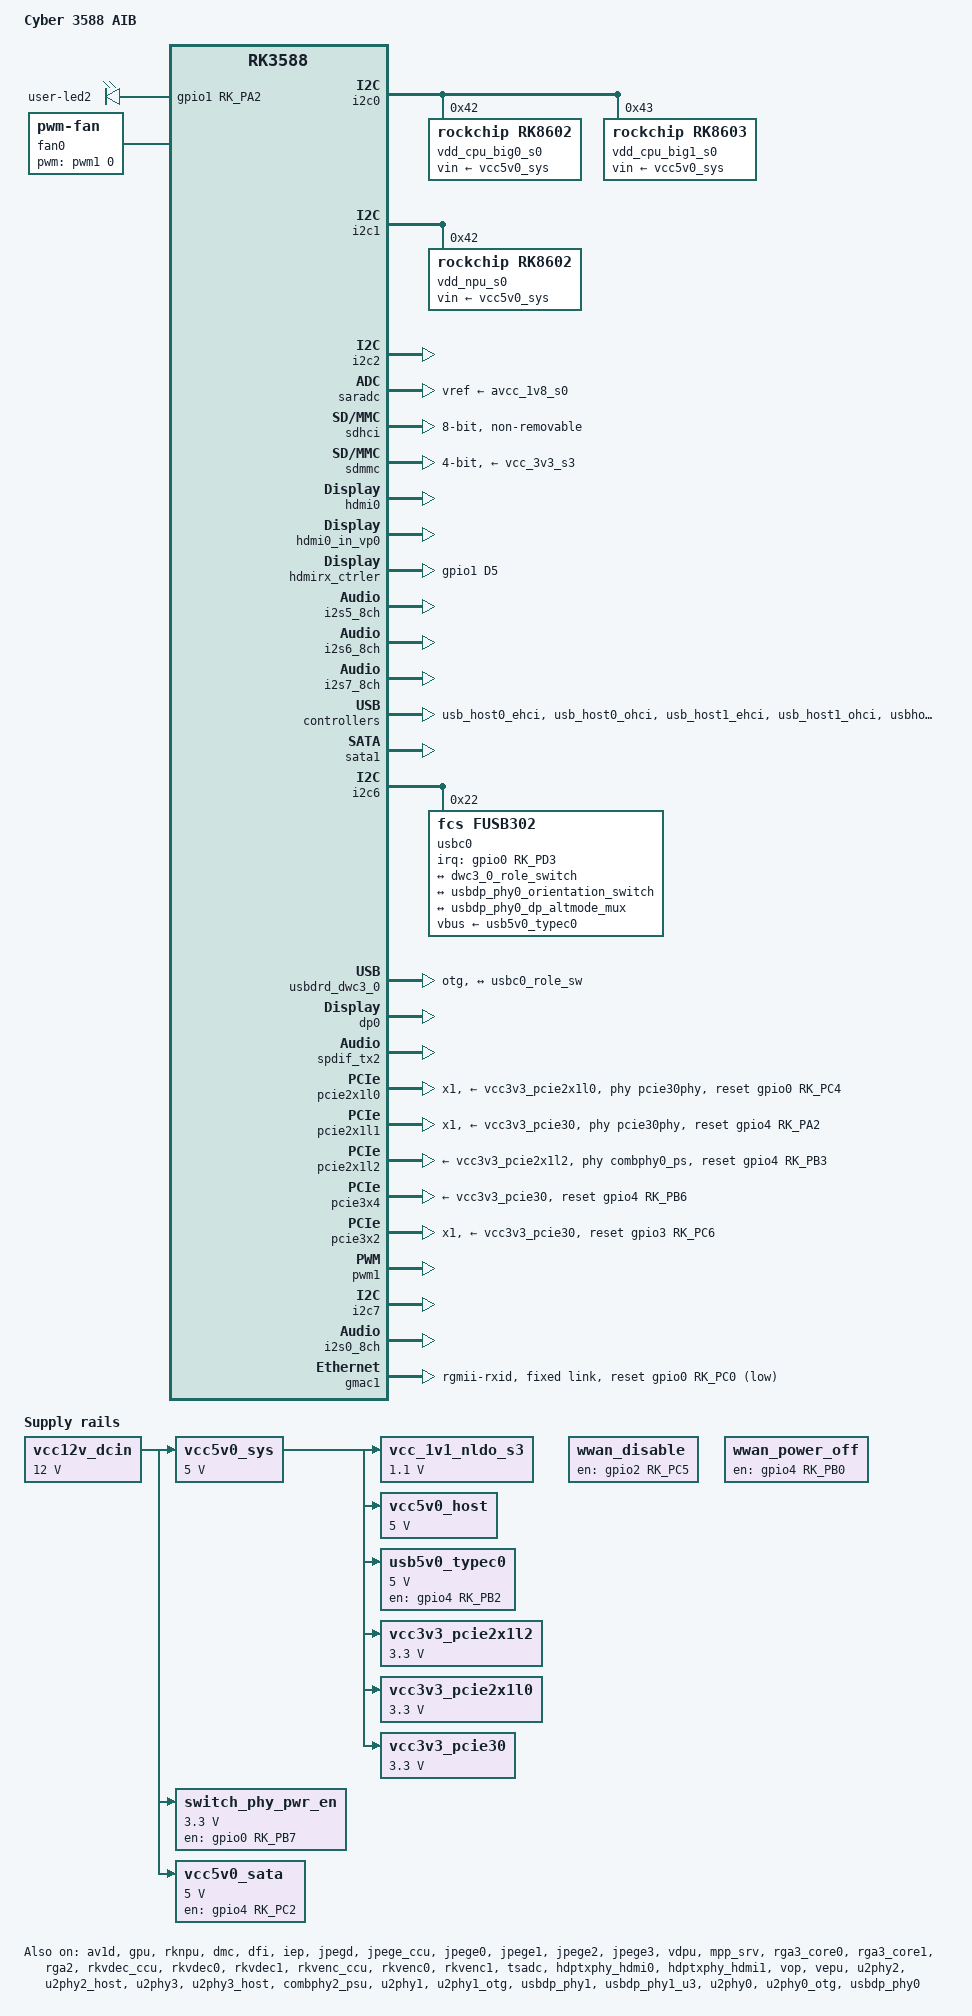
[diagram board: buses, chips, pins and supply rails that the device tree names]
// SPDX-License-Identifier: (GPL-2.0+ OR MIT)
/*
 * Copyright (c) 2022 Rockchip Electronics Co., Ltd.
 * Copyright (c) 2024 Cyber RD Group
 *
 */

/dts-v1/;

#include <dt-bindings/gpio/gpio.h>
#include <dt-bindings/leds/common.h>
#include <dt-bindings/pwm/pwm.h>
#include <dt-bindings/pinctrl/rockchip.h>
#include <dt-bindings/input/rk-input.h>
#include <dt-bindings/display/drm_mipi_dsi.h>
#include <dt-bindings/display/rockchip_vop.h>
#include <dt-bindings/sensor-dev.h>
#include "dt-bindings/usb/pd.h"
#include "rk3588.dtsi"
#include "rk3588-rk806-single.dtsi"
#include "rk3588-linux.dtsi"

/ {
	model = "Cyber 3588 AIB";
	compatible = "cyber,cyber3588-aib", "rockchip,rk3588";

	/delete-node/ chosen;

	vcc12v_dcin: vcc12v-dcin {
		compatible = "regulator-fixed";
		regulator-name = "vcc12v_dcin";
		regulator-always-on;
		regulator-boot-on;
		regulator-min-microvolt = <12000000>;
		regulator-max-microvolt = <12000000>;
	};

	vcc5v0_sys: vcc5v0-sys {
		compatible = "regulator-fixed";
		regulator-name = "vcc5v0_sys";
		regulator-always-on;
		regulator-boot-on;
		regulator-min-microvolt = <5000000>;
		regulator-max-microvolt = <5000000>;
		vin-supply = <&vcc12v_dcin>;
	};

	wwan_disable: wwan-disable-regulator {
		compatible = "regulator-fixed";
		regulator-name = "wwan_disable";
		enable-active-high;
		gpio = <&gpio2 RK_PC5 GPIO_ACTIVE_HIGH>;
		pinctrl-0 = <&wwan_disable_h>;
		pinctrl-names = "default";
		regulator-boot-on;
		regulator-always-on;
	};

	wwan_power_off: wwan-power-off-regulator {
		compatible = "regulator-fixed";
		regulator-name = "wwan_power_off";
		enable-active-high;
		gpio = <&gpio4 RK_PB0 GPIO_ACTIVE_HIGH>;
		pinctrl-0 = <&wwan_power_off_h>;
		pinctrl-names = "default";
		regulator-boot-on;
		regulator-always-on;
	};

	// bt_wake: bt-wake-gpio-regulator {
	// 	compatible = "regulator-fixed";
	// 	regulator-name = "bt_wake";
	// 	enable-active-high;
	// 	gpio = <&gpio3 RK_PD5 GPIO_ACTIVE_HIGH>;
	// 	regulator-boot-on;
	// 	regulator-always-on;
	// };

	// sdio_pwrseq: sdio-pwrseq {
	// 	compatible = "mmc-pwrseq-simple";
	// 	clocks = <&hym8563>;
	// 	clock-names = "ext_clock";
	// 	pinctrl-names = "default";
	// 	pinctrl-0 = <&wifi_enable_h>;
	// 	reset-gpios = <&gpio0 RK_PC4 GPIO_ACTIVE_LOW>;
	// };

	// wireless_wlan: wireless-wlan {
	// 	compatible = "wlan-platdata";
	// 	wifi_chip_type = "ap6256";
	// 	pinctrl-names = "default";
	// 	pinctrl-0 = <&wifi_host_wake_irq>;
	// 	WIFI,host_wake_irq = <&gpio0 RK_PB2 GPIO_ACTIVE_HIGH>;
	// 	status = "okay";
	// };

	switch_phy_pwr_en: switch-phy-pwr-en {
		compatible = "regulator-fixed";
		regulator-name = "vcc5v0_host";
		regulator-boot-on;
		regulator-always-on;
		regulator-min-microvolt = <3300000>;
		regulator-max-microvolt = <3300000>;
		enable-active-high;
		gpio = <&gpio0 RK_PB7 GPIO_ACTIVE_HIGH>;
		pinctrl-names = "default";
		pinctrl-0 = <&phy_pwr_en>;
		vin-supply = <&vcc12v_dcin>;
	};

	vcc_1v1_nldo_s3: vcc-1v1-nldo-s3 {
		compatible = "regulator-fixed";
		regulator-name = "vcc_1v1_nldo_s3";
		regulator-always-on;
		regulator-boot-on;
		regulator-min-microvolt = <1100000>;
		regulator-max-microvolt = <1100000>;
		vin-supply = <&vcc5v0_sys>;
	};

	hdmi0_sound: hdmi0-sound {
		status = "okay";
		compatible = "rockchip,hdmi";
		rockchip,mclk-fs = <128>;
		rockchip,card-name = "rockchip-hdmi0";
		rockchip,cpu = <&i2s5_8ch>;
		rockchip,codec = <&hdmi0>;
		rockchip,jack-det;
	};

	hdmi1_sound: hdmi1-sound {
		status = "okay";
		compatible = "rockchip,hdmi";
		rockchip,mclk-fs = <128>;
		rockchip,card-name = "rockchip-hdmi1";
		rockchip,cpu = <&i2s6_8ch>;
		rockchip,codec = <&hdmi1>;
		rockchip,jack-det;
	};

	dp0_sound: dp0-sound {
		status = "okay";
		compatible = "rockchip,hdmi";
		rockchip,card-name = "rockchip-dp0";
		rockchip,mclk-fs = <512>;
		rockchip,cpu = <&spdif_tx2>;
		rockchip,codec = <&dp0 1>;
		rockchip,jack-det;
	};

	vcc5v0_host: vcc5v0-host-regulator {
		compatible = "regulator-fixed";
		regulator-name = "vcc5v0_host";
		regulator-boot-on;
		regulator-always-on;
		regulator-min-microvolt = <5000000>;
		regulator-max-microvolt = <5000000>;
		enable-active-high;
		// gpio = <&gpio0 RK_PD4 GPIO_ACTIVE_HIGH>;
		// pinctrl-names = "default";
		// pinctrl-0 = <&vcc5v0_host_en>;
		vin-supply = <&vcc5v0_sys>;
	};

	usb5v0_typec0: usb5v0-typec0-regulator{
		compatible = "regulator-fixed";
		regulator-name = "vcc5v0_host";
		regulator-min-microvolt = <5000000>;
		regulator-max-microvolt = <5000000>;
		enable-active-high;
		gpio = <&gpio4 RK_PB2 GPIO_ACTIVE_HIGH>;
		pinctrl-names = "default";
		pinctrl-0 = <&vcc5v0_otg_en>;
		vin-supply = <&vcc5v0_sys>;
	};

	vcc3v3_pcie2x1l2: vcc3v3-pcie2x1l2 {
		compatible = "regulator-fixed";
		regulator-name = "vcc3v3_pcie2x1l2";
		regulator-min-microvolt = <3300000>;
		regulator-max-microvolt = <3300000>;
		regulator-always-on;
		regulator-boot-on;
		vin-supply = <&vcc5v0_sys>;
	};

	vcc3v3_pcie2x1l0: vcc3v3-pcie2x1l0 {
		compatible = "regulator-fixed";
		regulator-name = "vcc3v3_pcie2x1l0";
		regulator-min-microvolt = <3300000>;
		regulator-max-microvolt = <3300000>;
		//enable-active-high;
		regulator-boot-on;
		regulator-always-on;
		//gpios = <&gpio1 RK_PD2 GPIO_ACTIVE_HIGH>;
		startup-delay-us = <50000>;
		vin-supply = <&vcc5v0_sys>;
	};

	vcc3v3_pcie30: vcc3v3-pcie30 {
		compatible = "regulator-fixed";
		regulator-name = "vcc3v3_pcie30";
		regulator-min-microvolt = <3300000>;
		regulator-max-microvolt = <3300000>;
		//enable-active-high;
		//gpios = <&gpio1 RK_PA4 GPIO_ACTIVE_HIGH>;
		regulator-always-on;
		regulator-boot-on;
		vin-supply = <&vcc5v0_sys>;
	};

	vcc5v0_sata: vcc5v0-sata {
		compatible = "regulator-fixed";
		regulator-name = "vcc5v0_sata";
		regulator-always-on;
		regulator-boot-on;
		startup-delay-us = <1000000>;
		//usb-pd-controller = <&usbc0>;
		enable-active-high;
		gpio = <&gpio4 RK_PC2 GPIO_ACTIVE_HIGH>;
		pinctrl-names = "default";
		pinctrl-0 = <&sata1_pwr_en>;
		regulator-min-microvolt = <5000000>;
		regulator-max-microvolt = <5000000>;
		vin-supply = <&vcc12v_dcin>;
	};

	gpio-leds {
		compatible = "gpio-leds";
		pinctrl-names = "default";

		user-led2 {
			gpios = <&gpio1 RK_PA2 GPIO_ACTIVE_HIGH>;
			linux,default-trigger = "heartbeat";
			default-state = "on";
		};
	};

	/* If hdmirx node is disabled, delete the reserved-memory node here. */
	reserved-memory {
		#address-cells = <2>;
		#size-cells = <2>;
		ranges;

		/* Reserve 256MB memory for hdmirx-controller@fdee0000 */
		cma {
			compatible = "shared-dma-pool";
			reusable;
			reg = <0x0 (256 * 0x100000) 0x0 (256 * 0x100000)>;
			linux,cma-default;
		};
	};

	hdmiin-sound {
		compatible = "rockchip,hdmi";
		rockchip,mclk-fs = <128>;
		rockchip,format = "i2s";
		rockchip,bitclock-master = <&hdmirx_ctrler>;
		rockchip,frame-master = <&hdmirx_ctrler>;
		rockchip,card-name = "rockchip-hdmiin";
		rockchip,cpu = <&i2s7_8ch>;
		rockchip,codec = <&hdmirx_ctrler 0>;
		rockchip,jack-det;
	};

	fan0: pwm-fan {
		compatible = "pwm-fan";
		#cooling-cells = <2>;
		cooling-levels = <72 94 117 139 162 184 207 229 255>;
		pwms = <&pwm1 0 10000 0>;
	};

	rtl8367s {
		compatible = "realtek,rtl8367s", "realtek,rtl8367b";
		cpu_port = <7>;
		mii-bus = <&mdio1>;
		realtek,extif2 = <1 0 1 1 1 1 1 1 2>;
		phy-id = <29>;
	};
};

&av1d {
	status = "okay";
};

&av1d_mmu {
	status = "okay";
};

&cpu_l0 {
	cpu-supply = <&vdd_cpu_lit_s0>;
	mem-supply = <&vdd_cpu_lit_mem_s0>;
};

&cpu_b0 {
	cpu-supply = <&vdd_cpu_big0_s0>;
	mem-supply = <&vdd_cpu_big0_mem_s0>;
};

&cpu_b2 {
	cpu-supply = <&vdd_cpu_big1_s0>;
	mem-supply = <&vdd_cpu_big1_mem_s0>;
};

&gpu {
	mali-supply = <&vdd_gpu_s0>;
	mem-supply = <&vdd_gpu_mem_s0>;
	status = "okay";
};

&rknpu {
	rknpu-supply = <&vdd_npu_s0>;
	mem-supply = <&vdd_npu_mem_s0>;
	status = "okay";
};

&rknpu_mmu {
	status = "okay";
};

&i2c0 {
	status = "okay";
	pinctrl-names = "default";
	pinctrl-0 = <&i2c0m2_xfer>;

	vdd_cpu_big0_s0: vdd_cpu_big0_mem_s0: rk8602@42 {
		compatible = "rockchip,rk8602";
		reg = <0x42>;
		vin-supply = <&vcc5v0_sys>;
		regulator-compatible = "rk860x-reg";
		regulator-name = "vdd_cpu_big0_s0";
		regulator-min-microvolt = <550000>;
		regulator-max-microvolt = <1050000>;
		regulator-ramp-delay = <2300>;
		rockchip,suspend-voltage-selector = <1>;
		regulator-boot-on;
		regulator-always-on;
		regulator-state-mem {
			regulator-off-in-suspend;
		};
	};

	vdd_cpu_big1_s0: vdd_cpu_big1_mem_s0: rk8603@43 {
		compatible = "rockchip,rk8603";
		reg = <0x43>;
		vin-supply = <&vcc5v0_sys>;
		regulator-compatible = "rk860x-reg";
		regulator-name = "vdd_cpu_big1_s0";
		regulator-min-microvolt = <550000>;
		regulator-max-microvolt = <1050000>;
		regulator-ramp-delay = <2300>;
		rockchip,suspend-voltage-selector = <1>;
		regulator-boot-on;
		regulator-always-on;
		regulator-state-mem {
			regulator-off-in-suspend;
		};
	};
};

&dmc {
	center-supply = <&vdd_ddr_s0>;
	mem-supply = <&vdd_log_s0>;
	status = "okay";
};

&dfi {
	status = "okay";
};

&i2c1 {
	status = "okay";
	pinctrl-names = "default";
	pinctrl-0 = <&i2c1m2_xfer>;

	vdd_npu_s0: vdd_npu_mem_s0: rk8602@42 {
		compatible = "rockchip,rk8602";
		reg = <0x42>;
		vin-supply = <&vcc5v0_sys>;
		regulator-compatible = "rk860x-reg";
		regulator-name = "vdd_npu_s0";
		regulator-min-microvolt = <550000>;
		regulator-max-microvolt = <950000>;
		regulator-ramp-delay = <2300>;
		rockchip,suspend-voltage-selector = <1>;
		regulator-boot-on;
		regulator-always-on;
		regulator-state-mem {
			regulator-off-in-suspend;
		};
	};
};

&i2c2 {
	status = "okay";
};

&iep {
	status = "okay";
};

&iep_mmu {
	status = "okay";
};

&jpegd {
	status = "okay";
};

&jpegd_mmu {
	status = "okay";
};

&jpege_ccu {
	status = "okay";
};

&jpege0 {
	status = "okay";
};

&jpege0_mmu {
	status = "okay";
};

&jpege1 {
	status = "okay";
};

&jpege1_mmu {
	status = "okay";
};

&jpege2 {
	status = "okay";
};

&jpege2_mmu {
	status = "okay";
};

&jpege3 {
	status = "okay";
};

&jpege3_mmu {
	status = "okay";
};

&vdpu {
	status = "okay";
};

&vdpu_mmu {
	status = "okay";
};

&mpp_srv {
	status = "okay";
};

&rga3_core0 {
	status = "okay";
};

&rga3_0_mmu {
	status = "okay";
};

&rga3_core1 {
	status = "okay";
};

&rga3_1_mmu {
	status = "okay";
};

&rga2 {
	status = "okay";
};

&rkvdec_ccu {
	status = "okay";
};

&rkvdec0 {
	status = "okay";
};

&rkvdec0_mmu {
	status = "okay";
};

&rkvdec1 {
	status = "okay";
};

&rkvdec1_mmu {
	status = "okay";
};

&rkvenc_ccu {
	status = "okay";
};

&rkvenc0 {
	status = "okay";
};

&rkvenc0_mmu {
	status = "okay";
};

&rkvenc1 {
	status = "okay";
};

&rkvenc1_mmu {
	status = "okay";
};

&saradc {
	status = "okay";
	vref-supply = <&avcc_1v8_s0>;
};

&sdhci {
	bus-width = <8>;
	no-sdio;
	no-sd;
	non-removable;
	max-frequency = <200000000>;
	mmc-hs400-1_8v;
	mmc-hs400-enhanced-strobe;
	status = "okay";
};

&sdmmc {
	max-frequency = <200000000>;
	no-sdio;
	no-mmc;
	bus-width = <4>;
	cap-mmc-highspeed;
	cap-sd-highspeed;
	disable-wp;
	sd-uhs-sdr104;
	vmmc-supply = <&vcc_3v3_s3>;
	vqmmc-supply = <&vccio_sd_s0>;
	pinctrl-names = "default";
	pinctrl-0 = <&sdmmc_bus4 &sdmmc_clk &sdmmc_cmd &sdmmc_det>;
	status = "okay";
};

// &sdio {
// 	max-frequency = <150000000>;
// 	supports-sdio;
// 	bus-width = <4>;
// 	disable-wp;
// 	cap-sd-highspeed;
// 	cap-sdio-irq;
// 	keep-power-in-suspend;
// 	mmc-pwrseq = <&sdio_pwrseq>;
// 	non-removable;
// 	num-slots = <1>;
// 	pinctrl-names = "default";
// 	pinctrl-0 = <&sdiom0_pins>;
// 	sd-uhs-sdr104;
// 	status = "okay";
// };

&soc_thermal {
	polling-delay = <1000>;
	polling-delay-passive = <2000>;

	trips {
		trip0: trip-point@0 {
			temperature = <45000>;
			hysteresis = <5000>;
			type = "active";
		};
		trip1: trip-point@1 {
			temperature = <50000>;
			hysteresis = <5000>;
			type = "active";
		};
		trip2: trip-point@2 {
			temperature = <55000>;
			hysteresis = <5000>;
			type = "active";
		};
		trip3: trip-point@3 {
			temperature = <60000>;
			hysteresis = <5000>;
			type = "active";
		};
		trip4: trip-point@4 {
			temperature = <65000>;
			hysteresis = <5000>;
			type = "active";
		};
		trip5: trip-point@5 {
			temperature = <70000>;
			hysteresis = <5000>;
			type = "active";
		};
		trip6: trip-point@6 {
			temperature = <75000>;
			hysteresis = <5000>;
			type = "active";
		};
		pcritical: trip-point@7 {
			temperature = <80000>;
			hysteresis = <1000>;
			type = "active";
		};
	};
	cooling-maps {
		map0 {
			trip = <&trip0>;
			cooling-device = <&fan0 0 1>;
			contribution = <1024>;
		};
		map1 {
			trip = <&trip1>;
			cooling-device = <&fan0 1 2>;
			contribution = <1024>;
		};
		map2 {
			trip = <&trip2>;
			cooling-device = <&fan0 2 3>;
			contribution = <1024>;
		};
		map3 {
			trip = <&trip3>;
			cooling-device = <&fan0 3 4>;
			contribution = <1024>;
		};
		map4 {
			trip = <&trip4>;
			cooling-device = <&fan0 4 5>;
			contribution = <1024>;
		};
		map5 {
			trip = <&trip5>;
			cooling-device = <&fan0 5 6>;
			contribution = <1024>;
		};
		map6 {
			trip = <&trip6>;
			cooling-device = <&fan0 6 7>;
			contribution = <1024>;
		};
		map7 {
			trip = <&pcritical>;
			cooling-device = <&fan0 7 8>;
			contribution = <1024>;
		};
	};
};

// &uart6 {
// 	pinctrl-names = "default";
// 	pinctrl-0 = <&uart6m1_xfer &uart6m1_ctsn &uart6m1_rtsn>;
// 	status = "okay";
// };

&tsadc {
	status = "okay";
};

&display_subsystem {
	clocks = <&hdptxphy_hdmi_clk0>, <&hdptxphy_hdmi_clk1>;
	clock-names = "hdmi0_phy_pll", "hdmi1_phy_pll";

	route {
		route_hdmi0: route-hdmi0 {
			status = "okay";
			logo,uboot = "logo.bmp";
			logo,kernel = "logo_kernel.bmp";
			logo,mode = "center";
			charge_logo,mode = "center";
			connect = <&vp0_out_hdmi0>;
		};

		route_hdmi1: route-hdmi1 {
			status = "okay";
			logo,uboot = "logo.bmp";
			logo,kernel = "logo_kernel.bmp";
			logo,mode = "center";
			charge_logo,mode = "center";
			connect = <&vp1_out_hdmi1>;
		};
	};
};

&hdptxphy_hdmi_clk0 {
	status = "okay";
};

&hdptxphy_hdmi_clk1 {
	status = "okay";
};

&hdmi0 {
	status = "okay";
		cec-enable = "true";
};

&hdmi0_in_vp0 {
	status = "okay";
};

&hdmi0_in_vp1 {
	status = "disabled";
};

&hdmi0_in_vp2 {
	status = "disabled";
};

&hdmi0_sound {
	status = "okay";
};

// &hdmi1 {
// 	status = "okay";
// 	pinctrl-names = "default";
// 	pinctrl-0 = <&hdmim0_tx1_cec &hdmim0_tx1_hpd &hdmim1_tx1_scl &hdmim1_tx1_sda>;
// 		cec-enable = "true";
// };

&hdmi1_in_vp0 {
	status = "disabled";
};

// &hdmi1_in_vp1 {
// 	status = "okay";
// };

&hdmi1_in_vp2 {
	status = "disabled";
};

&hdmi1_sound {
	status = "okay";
};

/* Should work with at least 128MB cma reserved above. */
&hdmirx_ctrler {
	status = "okay";

	#sound-dai-cells = <1>;
	/* Effective level used to trigger HPD: 0-low, 1-high */
	hpd-trigger-level = <1>;
	hdmirx-det-gpios = <&gpio1 RK_PD5 GPIO_ACTIVE_LOW>;

	pinctrl-0 = <&hdmim1_rx_cec &hdmim1_rx_hpdin &hdmim1_rx_scl &hdmim1_rx_sda &hdmirx_det>;
	pinctrl-names = "default";
};

&hdptxphy_hdmi0 {
	status = "okay";
};

&hdptxphy_hdmi1 {
	status = "okay";
};

&i2s5_8ch {
	status = "okay";
};

&i2s6_8ch {
	status = "okay";
};

&i2s7_8ch {
	status = "okay";
};

&vop {
	status = "okay";
};

&vop_mmu {
	status = "okay";
};

&vepu {
	status = "okay";
};

/* vp0 & vp1 splice for 8K output */
&vp0 {
	rockchip,plane-mask = <(1 << ROCKCHIP_VOP2_CLUSTER0 | 1 << ROCKCHIP_VOP2_ESMART0)>;
	rockchip,primary-plane = <ROCKCHIP_VOP2_CLUSTER0>;
	cursor-win-id = <ROCKCHIP_VOP2_ESMART0>;
};

&vp1 {
	rockchip,plane-mask = <(1 << ROCKCHIP_VOP2_CLUSTER1 | 1 << ROCKCHIP_VOP2_ESMART1)>;
	rockchip,primary-plane = <ROCKCHIP_VOP2_CLUSTER1>;
	cursor-win-id = <ROCKCHIP_VOP2_ESMART1>;
};

&vp2 {
	rockchip,plane-mask = <(1 << ROCKCHIP_VOP2_CLUSTER2 | 1 << ROCKCHIP_VOP2_ESMART2)>;
	rockchip,primary-plane = <ROCKCHIP_VOP2_CLUSTER2>;
	cursor-win-id = <ROCKCHIP_VOP2_ESMART2>;
};

&vp3 {
	rockchip,plane-mask = <(1 << ROCKCHIP_VOP2_CLUSTER3 | 1 << ROCKCHIP_VOP2_ESMART3)>;
	rockchip,primary-plane = <ROCKCHIP_VOP2_CLUSTER3>;
	cursor-win-id = <ROCKCHIP_VOP2_ESMART3>;
};

&u2phy2 {
	status = "okay";
};

&u2phy2_host {
	status = "okay";
};

&u2phy3 {
	status = "okay";
};

&u2phy3_host {
	status = "okay";
};

&usb_host0_ehci {
	status = "okay";
};

&usb_host0_ohci {
	status = "okay";
};

&usb_host1_ehci {
	status = "okay";
};

&usb_host1_ohci {
	status = "okay";
};

&usbhost3_0 {
	status = "okay";
};

&usbhost_dwc3_0 {
	status = "okay";
};

&combphy2_psu {
	status = "okay";
};

&u2phy1 {
	status = "okay";
};

&u2phy1_otg {
	status = "okay";
};

&usbdrd3_1{
	status = "okay";
};

&usbdrd_dwc3_1{
	status = "okay";
};

&usbdp_phy1 {
	status = "okay";
};

&usbdp_phy1_u3 {
	status = "okay";
};

&sata1{
	ahci-supply = <&vcc5v0_sata>;
	status = "okay";
};

&i2c6 {
	status = "okay";
	pinctrl-names = "default";
	pinctrl-0 = <&i2c6m0_xfer>;

	usbc0: fusb302@22 {
		compatible = "fcs,fusb302";
		reg = <0x22>;
		interrupt-parent = <&gpio0>;
		interrupts = <RK_PD3 IRQ_TYPE_LEVEL_LOW>;
		//int-n-gpios = <&gpio0 RK_PD3 GPIO_ACTIVE_LOW>;
		pinctrl-names = "default";
		pinctrl-0 = <&usbc0_int>;
		vbus-supply = <&usb5v0_typec0>;
		status = "okay";

		ports {
			#address-cells = <1>;
			#size-cells = <0>;

			port@0 {
				reg = <0>;
				usbc0_role_sw: endpoint@0 {
					remote-endpoint = <&dwc3_0_role_switch>;
				};
			};
		};

		usb_con: connector {
			compatible = "usb-c-connector";
			label = "USB-C";
			data-role = "dual";
			power-role = "dual";
			try-power-role = "sink";
			op-sink-microwatt = <1000000>;
			sink-pdos =
			<PDO_FIXED(5000, 1000, PDO_FIXED_USB_COMM)
			PDO_FIXED(9000, 3000, PDO_FIXED_USB_COMM)
			PDO_FIXED(12000, 3000, PDO_FIXED_USB_COMM)>;
			source-pdos =
				<PDO_FIXED(5000, 3000, PDO_FIXED_USB_COMM)>;



			altmodes {
				#address-cells = <1>;
				#size-cells = <0>;

				altmode@0 {
					reg = <0>;
					svid = <0xff01>;
					vdo = <0xffffffff>;
				};
			};

			ports {
				#address-cells = <1>;
				#size-cells = <0>;

				port@0 {
					reg = <0>;
					usbc0_orien_sw: endpoint {
						remote-endpoint = <&usbdp_phy0_orientation_switch>;
					};
				};

				port@1 {
					reg = <1>;
					dp_altmode_mux: endpoint {
						remote-endpoint = <&usbdp_phy0_dp_altmode_mux>;
					};
				};
			};
		};
	};
};

&u2phy0 {
	status = "okay";
};

&u2phy0_otg {
	rockchip,typec-vbus-det;
	//phy-supply = <&vcc5v0_host>;
	status = "okay";
};

&usbdrd3_0 {
	status = "okay";
};

&usbdrd_dwc3_0 {
	status = "okay";
	dr_mode = "otg";
	usb-role-switch;
	port {
		#address-cells = <1>;
		#size-cells = <0>;
		dwc3_0_role_switch: endpoint@0 {
			reg = <0>;
			remote-endpoint = <&usbc0_role_sw>;
		};
	};
};

&usbdp_phy0 {
	status = "okay";
	orientation-switch;
	svid = <0xff01>;
	sbu1-dc-gpios = <&gpio4 RK_PA6 GPIO_ACTIVE_HIGH>;
	sbu2-dc-gpios = <&gpio4 RK_PA7 GPIO_ACTIVE_HIGH>;

	port {
		#address-cells = <1>;
		#size-cells = <0>;
		usbdp_phy0_orientation_switch: endpoint@0 {
			reg = <0>;
			remote-endpoint = <&usbc0_orien_sw>;
		};

		usbdp_phy0_dp_altmode_mux: endpoint@1 {
			reg = <1>;
			remote-endpoint = <&dp_altmode_mux>;
		};
	};
};

&usbdp_phy0_u3 {
	status = "okay";
};

&usbdp_phy0_dp {
	status = "okay";
};

&dp0 {
	status = "okay";
};

&dp0_in_vp2 {
	status = "okay";
};

&route_dp0 {
	status = "okay";
	connect = <&vp2_out_dp0>;
};

&spdif_tx2 {
	status = "okay";
};

&combphy1_ps {
	// pinctrl-names = "default";
	// pinctrl-0 = <&sata1_pm_reset>;
	status = "okay";
};

&combphy0_ps {
	//rockchip,ext-refclk;
	//assigned-clock-rates = <100000000>;
	status = "okay";
};

&pcie30phy {
	//rockchip,ext-refclk;
	assigned-clock-rates = <100000000>;
	rockchip,pcie30-phymode = <PHY_MODE_PCIE_NABIBI>; //4*pcie3.0x1 + 1* pcie2.0x1
	status = "okay";
};

&pcie2x1l0 {
	/* 2.pcie30phy port0 lane1 */
	max-link-speed = <3>;
	num-lanes = <1>;
	phys = <&pcie30phy>;
	//reset-gpios = <&gpio4 RK_PB4 GPIO_ACTIVE_HIGH>;

	reset-gpios = <&gpio0 RK_PC4 GPIO_ACTIVE_HIGH>; //checked
	//prsnt-gpios=<&gpio0 RK_PC5 GPIO_ACTIVE_HIGH>;
	vpcie3v3-supply = <&vcc3v3_pcie2x1l0>;
	status = "okay";

	pcie@20 {
		reg = <0x00200000 0 0 0 0>;
		#address-cells = <3>;
		#size-cells = <2>;

		nvme1: pcie@20,0 {
			reg = <0x000000 0 0 0 0>;
		};
	};
};

&pcie2x1l1 {
	/* 4.pcie30phy port1 lane1 */
	max-link-speed = <3>;
	num-lanes = <1>;
	phys = <&pcie30phy>;
	reset-gpios = <&gpio4 RK_PA2 GPIO_ACTIVE_HIGH>; //checked

	//prsnt-gpios=<&gpio4 RK_PA2 GPIO_ACTIVE_HIGH>;
	vpcie3v3-supply = <&vcc3v3_pcie30>;
	status = "okay";

	pcie@30 {
		reg = <0x00300000 0 0 0 0>;
		#address-cells = <3>;
		#size-cells = <2>;

		rtl8125_0: pcie@30,0 {
			reg = <0x000000 0 0 0 0>;
		};
	};
};

&pcie2x1l2 {
	//reset-gpios = <&gpio4 RK_PA4 GPIO_ACTIVE_HIGH>;
	reset-gpios = <&gpio4 RK_PB3 GPIO_ACTIVE_HIGH>;
	prsnt-gpios=<&gpio4 RK_PD1 GPIO_ACTIVE_HIGH>;
	vpcie3v3-supply = <&vcc3v3_pcie2x1l2>;
	phys = <&combphy0_ps PHY_TYPE_PCIE>;
	status = "okay";

	pcie@40 {
		reg = <0x00400000 0 0 0 0>;
		#address-cells = <3>;
		#size-cells = <2>;

		rtl8125_1: pcie@40,0 {
			reg = <0x000000 0 0 0 0>;
			local-mac-address = [ 00 00 00 00 00 00 ];
		};
	};
};

&pcie3x4 {
	max-link-speed = <3>;
	reset-gpios = <&gpio4 RK_PB6 GPIO_ACTIVE_HIGH>;
	//prsnt-gpios = <&gpio4 RK_PB6 GPIO_ACTIVE_HIGH>;
	vpcie3v3-supply = <&vcc3v3_pcie30>;
	status = "okay";
};

&pcie3x2 {
	/* 3.pcie30phy port1 lane0 */
	max-link-speed = <3>;
	num-lanes = <1>;
	//reset-gpios = <&gpio4 RK_PB3 GPIO_ACTIVE_HIGH>;
	reset-gpios = <&gpio3 RK_PC6 GPIO_ACTIVE_HIGH>; //checked
	//prsnt-gpios=<&gpio3 RK_PC6 GPIO_ACTIVE_HIGH>;
	bus-scan-delay-ms = <30000>;
	delayed-auto;
	link_retries_count = <400>;

	vpcie3v3-supply = <&vcc3v3_pcie30>;
	status = "okay";
};

&pwm1 {
	pinctrl-names = "active";
	pinctrl-0 = <&pwm1m1_pins>;
	status = "okay";
};

// &i2c6 {
// 	status = "okay";
// };

&i2c7 {
	status = "okay";

	// es8316: es8316@11 {
	// 	compatible = "everest,es8316";
	// 	reg = <0x11>;
	// 	clocks = <&mclkout_i2s0>;
	// 	clock-names = "mclk";
	// 	pinctrl-names = "default";
	// 	pinctrl-0 = <&i2s0_mclk>;
	// 	#sound-dai-cells = <0>;
	// };
};

&i2s0_8ch {
	status = "okay";
	rockchip,playback-channels = <2>;
	rockchip,capture-channels = <2>;
	#sound-dai-cells = <0>;
	pinctrl-names = "default";
	pinctrl-0 = <&i2s0_lrck
		     &i2s0_sclk
		     &i2s0_sdi0
		     &i2s0_sdo0>;
};

// &sfc {
// 	//status = "okay";
// 	max-freq = <50000000>;
// 	#address-cells = <1>;
// 	#size-cells = <0>;
// 	pinctrl-names = "default";
// 	pinctrl-0 = <&fspim2_pins>;

// 	spi_flash: spi-flash@0 {
// 		#address-cells = <1>;
// 		#size-cells = <0>;
// 		compatible = "jedec,spi-nor";
// 		reg = <0x0>;
// 		spi-max-frequency = <50000000>;
// 		spi-tx-bus-width = <1>;
// 		spi-rx-bus-width = <4>;
// 		//status = "okay";

// 		partitions {
// 			compatible = "fixed-partitions";
// 			#address-cells = <1>;
// 			#size-cells = <1>;

// 			loader@0 {
// 				label = "loader";
// 				reg = <0x0 0x1000000>;
// 			};
// 		};
// 	};
// };

&rockchip_suspend {
	compatible = "rockchip,pm-rk3588";
	status = "okay";
	rockchip,sleep-debug-en = <1>;
	rockchip,sleep-mode-config = <
		(0
		| RKPM_SLP_ARMOFF_DDRPD
		)
	>;
	rockchip,wakeup-config = <
		(0
		| RKPM_GPIO_WKUP_EN
		| RKPM_USB_WKUP_EN
		)
	>;
};

&avdd_0v75_s0 {
	regulator-state-mem {
		regulator-on-in-suspend;
		regulator-suspend-microvolt = <837500>;
	};
};

&avcc_1v8_s0 {
	regulator-state-mem {
		regulator-on-in-suspend;
		regulator-suspend-microvolt = <1800000>;
	};
};

&vcc_1v8_s0 {
	regulator-state-mem {
		regulator-on-in-suspend;
		regulator-suspend-microvolt = <1800000>;
	};
};

&vcc_3v3_s0 {
	regulator-state-mem {
		regulator-on-in-suspend;
		regulator-suspend-microvolt = <3300000>;
	};
};

&vdd_log_s0 {
	regulator-state-mem {
		regulator-on-in-suspend;
		regulator-suspend-microvolt = <750000>;
	};
};

&vdd_ddr_pll_s0 {
	regulator-state-mem {
		regulator-on-in-suspend;
		regulator-suspend-microvolt = <850000>;
	};
};


&gmac1 {
	clock_in_out = "output";
	phy-mode = "rgmii-rxid";
	pinctrl-names = "default";
	pinctrl-0 = <&gmac1_miim
		     &gmac1_tx_bus2
		     &gmac1_rx_bus2
		     &gmac1_rgmii_clk
		     &gmac1_rgmii_bus>;

	snps,reset-gpio = <&gpio0 RK_PC0 GPIO_ACTIVE_LOW>;
	snps,reset-active-low;
	snps,reset-delays-us = <0 15000 50000>;

	tx_delay = <0x42>;
	status = "okay";

	fixed-link {
		speed = <1000>;
		full-duplex;
	};
};

/*&mdio1 {
	switch@29 {
		compatible = "realtek,rtl8365mb";
		reg = <29>;
		reset-gpios = <&gpio0 RK_PC0 GPIO_ACTIVE_LOW>;

		ports {
			#address-cells = <1>;
			#size-cells = <0>;

			port@0 {
				reg = <0>;
				label = "wan";
			};

			port@1 {
				reg = <1>;
				label = "lan1";
			};

			port@2 {
				reg = <2>;
				label = "lan2";
			};

			port@3 {
				reg = <3>;
				label = "lan3";
			};

			port@4 {
				reg = <4>;
				label = "lan4";
			};

			port@5 {
				reg = <5>;
				label = "lan5";
			};

			port@7 {
				reg = <7>;
				ethernet = <&gmac1>;
				phy-mode = "rgmii";
				tx-internal-delay-ps = <2000>;
				rx-internal-delay-ps = <0>;

				fixed-link {
					speed = <1000>;
					full-duplex;
				};
			};
		};
	};
};*/

&pinctrl {
	usb {
		// vcc5v0_host_en: vcc5v0-host-en {
		// 	rockchip,pins = <0 RK_PD4 RK_FUNC_GPIO &pcfg_pull_up>;
		// };

		vcc5v0_otg_en: vcc5v0-otg-en {
			rockchip,pins = <4 RK_PB2 RK_FUNC_GPIO &pcfg_pull_down>;
		};
	};

	phy-pwr {
		phy_pwr_en: phy-pwr-en {
			rockchip,pins = <0 RK_PB7 RK_FUNC_GPIO &pcfg_pull_up>;
		};
	};

	usb-typec {
		usbc0_int: usbc0-int {
			rockchip,pins = <0 RK_PD3 RK_FUNC_GPIO &pcfg_pull_up>;
		};
	};

	leds {
		led_pwr_en: led-pwr-en {
			rockchip,pins = <1 RK_PA2 RK_FUNC_GPIO &pcfg_pull_none>;
		};
	};

	sd_pwr {
		sd_pwr_en_h: sd-pwr-en-h {
			rockchip,pins = <4 RK_PB4 RK_FUNC_GPIO &pcfg_pull_down>;
		};
	};

	wwan_pwr {
		wwan_rst_en: wwan-rst-en {
			rockchip,pins = <4 RK_PA5 RK_FUNC_GPIO &pcfg_output_high>;
		};

		wwan_disable_h: wwan-disable-h {
			rockchip,pins = <2 RK_PC5 RK_FUNC_GPIO &pcfg_pull_down>;
		};

		wwan_power_off_h: wwan-power-off-h {
			rockchip,pins = <4 RK_PB0 RK_FUNC_GPIO &pcfg_output_high>;
		};
	};

	hdmirx {
		hdmirx_det: hdmirx-det {
			rockchip,pins = <1 RK_PD5 RK_FUNC_GPIO &pcfg_pull_none>;
		};
	};

	sata {
		sata1_pwr_en: sata-pwr-en{
			rockchip,pins = <4 RK_PC2 RK_FUNC_GPIO &pcfg_output_high>;
		};
		sata1_pm_reset: sata1-pm-reset {
			rockchip,pins = <2 RK_PC2 RK_FUNC_GPIO &pcfg_output_high>;
		};
	};
};
